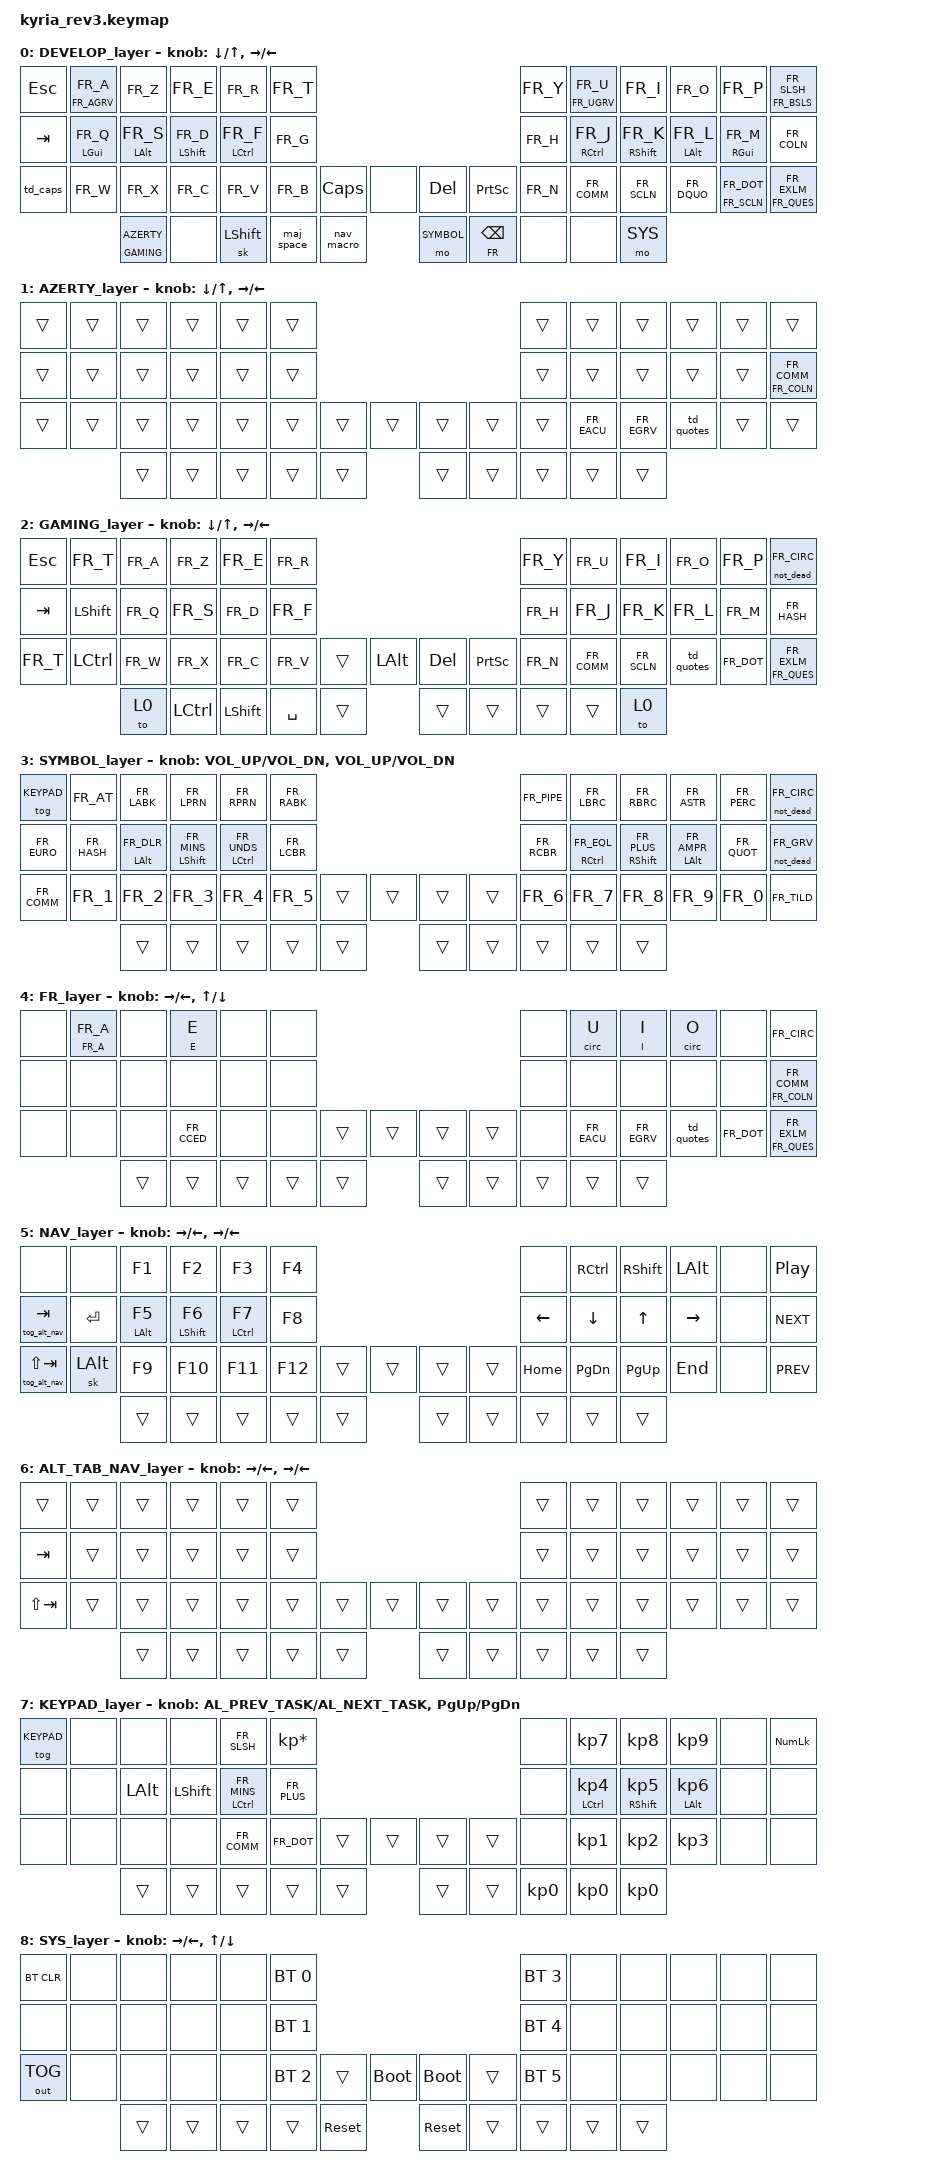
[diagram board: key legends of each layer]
/*
 * Copyright (c) 2023 The ZMK Contributors
 *
 * SPDX-License-Identifier: MIT
 */

#include <behaviors.dtsi>
#include <dt-bindings/zmk/keys.h>
#include <dt-bindings/zmk/bt.h>
#include <dt-bindings/zmk/outputs.h>
#include "french.h"
// Layers numbers
#define DEVELOP 0
#define AZERTY 1
#define GAMING 2
#define SYMBOL 3
#define FR 4
#define NAV 5
#define ALT_TAB_NAV 6
#define KEYPAD 7
#define SYS 8

// keys numbers per row and side
#define LR0 0 1 2 3 4 5
#define LR1 12 13 14 15 16 17
#define LR2 24 25 26 27 28 29 30 31
#define LTHUMBS 40 41 42 43 44
#define LEFT_KEYS LR0 LR1 LR2 LTHUMBS

#define RR0 6 7 8 9 10 11
#define RR1 18 19 20 21 22 23
#define RR2 32 33 34 35 36 37 38 39
#define RTHUMBS 45 46 47 48 49
#define RIGHT_KEYS RR0 RR1 RR2 RTHUMBS

&sk {
    release-after-ms = <1000>;
    quick-release;
    ignore-modifiers;
};

&sl {
    release-after-ms = <3000>;
};

/ {

    behaviors {
        maj_space: maj_space{
            compatible = "zmk,behavior-mod-morph";
            #binding-cells = <0>;
            bindings = <&kp SPACE>, <&kp FR_UNDS>;
            mods = <(MOD_LSFT|MOD_RSFT)>;
        };
        // thanks https://github.com/urob/zmk-config#timeless-homerow-mods
        lhrm: lhrm {
            compatible = "zmk,behavior-hold-tap";
            #binding-cells = <2>;
            bindings = <&kp>, <&kp>;

            flavor = "balanced";
            tapping-term-ms = <200>;
            quick-tap-ms = <200>;
	    require-prior-idle-ms = <150>;
	    hold-trigger-key-positions = <RIGHT_KEYS>;
	    hold-trigger-on-release;
        };
        rhrm: rhrm {
            compatible = "zmk,behavior-hold-tap";
            #binding-cells = <2>;
            bindings = <&kp>, <&kp>;

            flavor = "balanced";
            tapping-term-ms = <200>;
            quick-tap-ms = <200>;
	    require-prior-idle-ms = <150>;
	    hold-trigger-key-positions = <LEFT_KEYS>;
	    hold-trigger-on-release;
        };
        accent_ht: accent_ht {
            compatible = "zmk,behavior-hold-tap";
            #binding-cells = <2>;
            flavor = "tap-preferred";
            quick-tap-ms = <200>;
            tapping-term-ms = <200>;
            bindings = <&kp>, <&kp>;
        };
        circ_ht: circ_ht {
            compatible = "zmk,behavior-hold-tap";
            #binding-cells = <2>;
            flavor = "tap-preferred";
            tapping-term-ms = <200>;
            bindings = <&trema>, <&circ>;
        };
        cust_mt: cust_mt {
            compatible = "zmk,behavior-hold-tap";
            #binding-cells = <2>;
            flavor = "balanced";
            tapping-term-ms = <200>;
            quick-tap-ms = <200>;
            bindings = <&mo>, <&kp>;
        };
        cust_ht: cust_ht {
            compatible = "zmk,behavior-hold-tap";
            #binding-cells = <2>;
            flavor = "balanced";
            tapping-term-ms = <200>;
            quick-tap-ms = <200>;
            bindings = <&kp>, <&kp>;
        };
        tog_ht: tog_ht {
            compatible = "zmk,behavior-hold-tap";
            #binding-cells = <2>;
            flavor = "tap-preferred";
            tapping-term-ms = <200>;
            bindings = <&tog>, <&tog>;
        };
        td_caps: td_caps {
            compatible = "zmk,behavior-tap-dance";
            #binding-cells = <0>;
            tapping-term-ms = <400>;
            bindings = <&kp LSHIFT>, <&caps_word>;
        };
        td_quotes: td_quotes {
            compatible = "zmk,behavior-tap-dance";
            #binding-cells = <0>;
            tapping-term-ms = <200>;
            bindings = <&kp FR_QUOT>, <&kp FR_DQUO>;
        };
        combos {
            compatible = "zmk,combos";
            cut {
                timeout-ms = <100>;
                key-positions = <26 28>;
                bindings = <&kp LC(FR_X)>;
                layers = <AZERTY DEVELOP>;
            };
            copy {
                timeout-ms = <100>;
                key-positions = <26 27>;
                bindings = <&kp LC(FR_C)>;
                layers = <AZERTY DEVELOP>;
            };
            paste {
                timeout-ms = <100>;
                key-positions = <27 28>;
                bindings = <&kp LC(FR_V)>;
                layers = <AZERTY DEVELOP>;
            };
            enter {
                timeout-ms = <25>;
                key-positions = <3 4>;
		require-prior-idle-ms = <200>;
                bindings = <&kp ENTER>;
                layers = <AZERTY DEVELOP>;
            };
        };
    };
    macros {
        trema: trema {
            compatible = "zmk,behavior-macro-one-param";
            #binding-cells = <1>;
            wait-ms = <0>;
            tap-ms = <20>;
            bindings
                = <&kp FR_DIAE>,
                <&macro_param_1to1>,
                <&kp MACRO_PLACEHOLDER>;
        };
        circ: circ {
            compatible = "zmk,behavior-macro-one-param";
            #binding-cells = <1>;
            wait-ms = <0>;
            tap-ms = <20>;
            bindings
                = <&kp FR_CIRC>,
                <&macro_param_1to1>,
                <&kp MACRO_PLACEHOLDER>;
        };
        not_dead: not_dead {
            compatible = "zmk,behavior-macro-one-param";
            #binding-cells = <1>;
            wait-ms = <0>;
            tap-ms = <20>;
            bindings
                = <&macro_param_1to1>,
                <&kp MACRO_PLACEHOLDER>,
                <&kp SPACE>;
        };
        nav_macro: nav_macro {
            compatible = "zmk,behavior-macro";
            #binding-cells = <0>;
            wait-ms = <10>;
            tap-ms = <20>;
            bindings
                = <&macro_press &mo NAV>,
                <&macro_pause_for_release>,
                <&macro_release &kp LALT &mo NAV &mo ALT_TAB_NAV>;
        };
        tog_alt_nav: tog_alt_nav {
            compatible = "zmk,behavior-macro-one-param";
            #binding-cells = <1>;
            wait-ms = <10>;
            tap-ms = <20>;
            bindings
                = <&macro_press &kp LALT>,
                <&macro_param_1to1>,
                <&macro_tap &kp MACRO_PLACEHOLDER>,
                <&macro_press &mo ALT_TAB_NAV>;
        };
    };
    keymap {
        compatible = "zmk,keymap";

        DEVELOP_layer {
            bindings = <
            &kp ESC &accent_ht FR_AGRV FR_A &kp FR_Z &kp FR_E &kp FR_R &kp FR_T                                  &kp FR_Y &accent_ht FR_UGRV FR_U &kp FR_I &kp FR_O &kp FR_P &cust_ht FR_BSLS FR_SLSH
            &kp TAB &lhrm LGUI FR_Q &lhrm LALT FR_S &lhrm LSHIFT FR_D &lhrm LCTRL FR_F &kp FR_G             &kp FR_H &rhrm RCTRL FR_J &rhrm RSHIFT FR_K &rhrm LALT FR_L &rhrm RGUI FR_M &kp FR_COLN
            &td_caps &kp FR_W &kp FR_X &kp FR_C &kp FR_V &kp FR_B &kp CAPS &none             &kp DEL &kp PRINTSCREEN &kp FR_N &kp FR_COMM &kp FR_SCLN &kp FR_DQUO &cust_ht FR_SCLN FR_DOT &cust_ht FR_QUES FR_EXLM
            &tog_ht GAMING AZERTY &none &sk LSHIFT &maj_space &nav_macro                               &mo SYMBOL &cust_mt FR BSPC &none &none &mo SYS          >;

            sensor-bindings = <&inc_dec_kp DOWN UP &inc_dec_kp RIGHT LEFT>;

        };

        AZERTY_layer {
            bindings = <
            &trans &trans &trans &trans &trans &trans                                   &trans &trans &trans &trans &trans &trans
            &trans &trans &trans &trans &trans &trans                                   &trans &trans &trans &trans &trans &cust_ht FR_COLN FR_COMM
            &trans &trans &trans &trans &trans &trans &trans &trans      &trans &trans &trans &kp FR_EACU &kp FR_EGRV &td_quotes &trans &trans
                            &trans &trans &trans &trans &trans           &trans &trans &trans &trans &trans
            >;
            sensor-bindings = <&inc_dec_kp DOWN UP &inc_dec_kp RIGHT LEFT>;

        };

        GAMING_layer {
            bindings = <
            &kp ESC &kp FR_T &kp FR_A &kp FR_Z &kp FR_E &kp FR_R                                   &kp FR_Y &kp FR_U &kp FR_I &kp FR_O &kp FR_P &not_dead FR_CIRC
            &kp TAB &kp LSHIFT &kp FR_Q &kp FR_S &kp FR_D &kp FR_F              &kp FR_H &kp FR_J &kp FR_K &kp FR_L &kp FR_M &kp FR_HASH
            &kp FR_T &kp LCTRL &kp FR_W &kp FR_X &kp FR_C &kp FR_V &trans &kp LALT             &kp DEL &kp PRINTSCREEN &kp FR_N &kp FR_COMM &kp FR_SCLN &td_quotes &kp FR_DOT &cust_ht FR_QUES FR_EXLM
            &to 0 &kp LCTRL &kp LSHIFT &kp SPACE &trans                                   &trans &trans &trans &trans &to 0
            >;
            sensor-bindings = <&inc_dec_kp DOWN UP &inc_dec_kp RIGHT LEFT>;
        };

        SYMBOL_layer {
            bindings = <
            &tog KEYPAD &kp FR_AT &kp FR_LABK &kp FR_LPRN &kp FR_RPRN &kp FR_RABK                                                    &kp FR_PIPE &kp FR_LBRC &kp FR_RBRC &kp FR_ASTR &kp FR_PERC &not_dead FR_CIRC
            &kp FR_EURO &kp FR_HASH &lhrm LALT FR_DLR &lhrm LSHIFT FR_MINS &lhrm LCTRL FR_UNDS &kp FR_LCBR                    &kp FR_RCBR &rhrm RCTRL FR_EQL &rhrm RSHIFT FR_PLUS &rhrm LALT FR_AMPR &kp FR_QUOT &not_dead FR_GRV
            &kp FR_COMM &kp FR_1 &kp FR_2 &kp FR_3 &kp FR_4 &kp FR_5 &trans &trans                                                       &trans &trans &kp FR_6 &kp FR_7 &kp FR_8 &kp FR_9 &kp FR_0 &kp FR_TILD
            &trans &trans &trans &trans &trans                                                                                      &trans &trans &trans &trans &trans
            >;
            sensor-bindings = <&inc_dec_kp C_VOL_UP C_VOL_DN &inc_dec_kp C_VOL_UP C_VOL_DN>;

        };

        FR_layer {
            bindings = <
            &none &circ_ht FR_A FR_A &none &circ_ht E E &none &none                &none &circ U &circ_ht I I &circ O &none &kp FR_CIRC
            &none &none &none &none &none &none 				   &none &none &none &none &none &cust_ht FR_COLN FR_COMM
            &none &none &none &kp FR_CCED &none &none &trans &trans    &trans &trans &none &kp FR_EACU &kp FR_EGRV &td_quotes &kp FR_DOT &cust_ht FR_QUES FR_EXLM
            &trans &trans &trans &trans &trans                                     &trans &trans &trans &trans &trans
            >;

            sensor-bindings = <&inc_dec_kp RIGHT LEFT &inc_dec_kp UP DOWN>;
        };

        NAV_layer {
            bindings = <
            &none &none &kp F1 &kp F2 &kp F3 &kp F4                                            &none &kp RCTRL &kp RSHIFT &kp LALT &none &kp C_PP
            &tog_alt_nav TAB &kp ENTER &lhrm LALT F5 &lhrm LSHIFT F6 &lhrm LCTRL F7 &kp F8           &kp LEFT &kp DOWN &kp UP &kp RIGHT &none &kp C_NEXT
            &tog_alt_nav LS(TAB) &sk LALT &kp F9 &kp F10 &kp F11 &kp F12 &trans &trans                                &trans &trans &kp HOME &kp PG_DN &kp PG_UP &kp END &none &kp C_PREV
            &trans &trans &trans &trans &trans                                                      &trans &trans &trans &trans &trans
            >;

            sensor-bindings = <&inc_dec_kp RIGHT LEFT &inc_dec_kp RIGHT LEFT>;
        };

        ALT_TAB_NAV_layer {
            bindings = <
            &trans &trans &trans &trans &trans &trans &trans &trans &trans &trans &trans &trans
            &kp TAB &trans &trans &trans &trans &trans &trans &trans &trans &trans &trans &trans
            &kp LS(TAB) &trans &trans &trans &trans &trans &trans &trans &trans &trans &trans &trans &trans &trans &trans &trans
            &trans &trans &trans &trans &trans &trans &trans &trans &trans &trans
            >;

            sensor-bindings = <&inc_dec_kp RIGHT LEFT &inc_dec_kp RIGHT LEFT>;
        };

        KEYPAD_layer {
            bindings = <
            &tog KEYPAD &none &none &none &kp FR_SLSH &kp KP_MULTIPLY                                     &none &kp KP_N7 &kp KP_N8 &kp KP_N9 &none &kp KP_NUMLOCK
            &none &none &kp LALT &kp LSHIFT &mt LCTRL FR_MINS &kp FR_PLUS                           &none &rhrm LCTRL KP_N4 &rhrm RSHIFT KP_N5 &rhrm LALT KP_N6 &none &none
            &none &none &none &none &kp FR_COMM &kp FR_DOT &trans &trans                                 &trans &trans &none &kp KP_N1 &kp KP_N2 &kp KP_N3 &none &none
            &trans &trans &trans &trans &trans                                                  &trans &trans &kp KP_N0 &kp KP_N0 &kp KP_N0
            >;

            sensor-bindings = <&inc_dec_kp C_AL_PREV_TASK C_AL_NEXT_TASK &inc_dec_kp PG_UP PG_DN>;
        };
        SYS_layer {
            bindings = <
            &bt BT_CLR &none &none &none &none &bt BT_SEL 0                     &bt BT_SEL 3 &none &none &none &none &none
            &none &none &none &none &none &bt BT_SEL 1                          &bt BT_SEL 4 &none &none &none &none &none
            &out OUT_TOG &none &none &none &none &bt BT_SEL 2 &trans &bootloader     &bootloader &trans &bt BT_SEL 5 &none &none &none &none &none
            &trans &trans &trans &trans &sys_reset                                  &sys_reset &trans &trans &trans &trans
            >;

            sensor-bindings = <&inc_dec_kp RIGHT LEFT &inc_dec_kp UP DOWN>;
        };
    };
};
